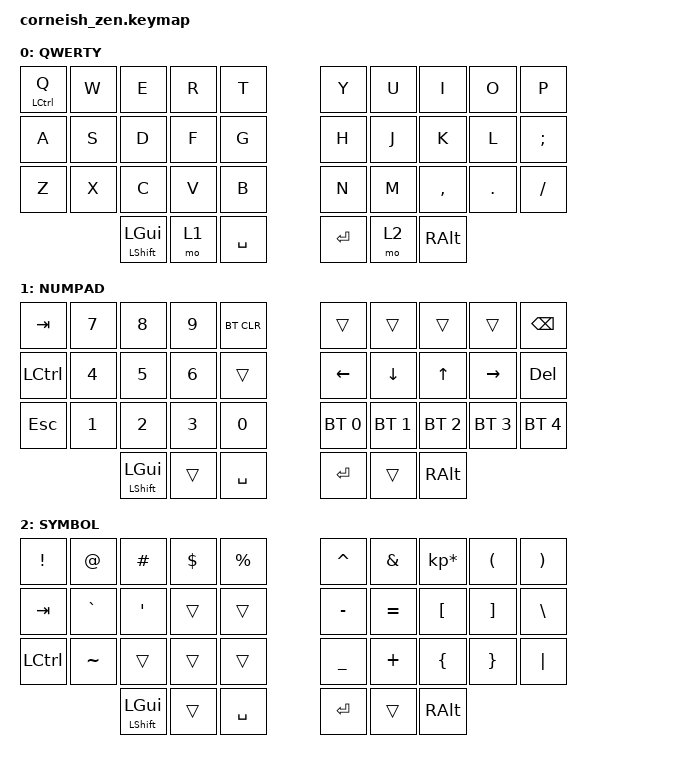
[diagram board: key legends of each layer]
#include <behaviors.dtsi>
#include <dt-bindings/zmk/keys.h>
#include <dt-bindings/zmk/bt.h>

/ {
  chosen {
    //zmk,matrix_transform = &default_transform;
    zmk,matrix_transform = &five_column_transform;
  };
};

/ {
        keymap {
                compatible = "zmk,keymap";

                default_layer {
                        label = "QWERTY";
// -----------------------------------------------------------------------------------------
// |  CTRL Q  |  W  |  E  |  R  |  T  |           |  Y  |  U   |  I  |  O  |  P  |
// |  A       |  S  |  D  |  F  |  G  |           |  H  |  J   |  K  |  L  |  ;  |
// |  Z       |  X  |  C  |  V  |  B  |           |  N  |  M   |  ,  |  .  |  /  |
//            | Shift GUI | LWR | SPC |           | ENT | RSE  | ALT |
                        bindings = <
   &mt LCTRL Q &kp W &kp E &kp R &kp T             &kp Y &kp U  &kp I     &kp O   &kp P
   &kp A &kp S &kp D &kp F &kp G                   &kp H &kp J  &kp K     &kp L   &kp SEMI
   &kp Z &kp X &kp C &kp V &kp B                   &kp N &kp M  &kp COMMA &kp DOT &kp FSLH
         &mt LSHFT LGUI &mo 1 &kp SPACE            &kp RET &mo 2 &kp RALT
                        >;
                };
                lower_layer {
                        label = "NUMPAD";
// -----------------------------------------------------------------------------------------
// |  TAB |  7  |  8  |  9  |BTCLR|           | Mkey|     |     |     | BKSP |
// | CTRL |  4  |  5  |  6  |     |           | LFT | DWN |  UP | RGT | DEL  |
// | ESC  |  1  |  2  |  3  |  0  |           | BT1 | BT2 | BT3 | BT4 | BT5  |
//       | LSHIFT GUI |     | SPC |           | ENT |     | ALT |
                        bindings = <
   &kp TAB   &kp N7 &kp N8 &kp N9 &bt BT_CLR      &trans        &trans        &trans        &trans        &kp BSPC
   &kp LCTRL &kp N4 &kp N5 &kp N6 &trans       &kp LEFT      &kp DOWN      &kp UP        &kp RIGHT     &kp DEL
   &kp ESC   &kp N1 &kp N2 &kp N3 &kp N0       &bt BT_SEL 0  &bt BT_SEL 1  &bt BT_SEL 2  &bt BT_SEL 3  &bt BT_SEL 4
         &mt LSHIFT LGUI  &trans  &kp SPACE      &kp RET  &trans   &kp RALT
                        >;
                };

                raise_layer {
                        label = "SYMBOL";
// -----------------------------------------------------------------------------------------
// |  !  |  @  |  #  |  $  |  %  |   |  ^  |  &  |  *  |  (  |  )  |
// | TAB |  `  |  '  |     |     |   |  -  |  =  |  [  |  ]  |  \  |
// | CTRL|  ~  |     |     |     |   |  _  |  +  |  {  |  }  | "|" |
//             | LSHIFT GUI |     | SPC |   | ENT |     | ALT |
                        bindings = <
   &kp EXCL  &kp AT     &kp HASH &kp DLLR &kp PRCNT   &kp CARET &kp AMPS  &kp KP_MULTIPLY &kp LPAR &kp RPAR
   &kp TAB   &kp GRAVE  &kp SQT  &trans   &trans      &kp MINUS &kp EQUAL &kp LBKT        &kp RBKT &kp BSLH
   &kp LCTRL &kp TILDE  &trans   &trans   &trans      &kp UNDER &kp PLUS  &kp LBRC        &kp RBRC &kp PIPE
         &mt LSHIFT LGUI &trans   &kp SPACE              &kp RET   &trans    &kp RALT
                        >;
                };
        };
};
